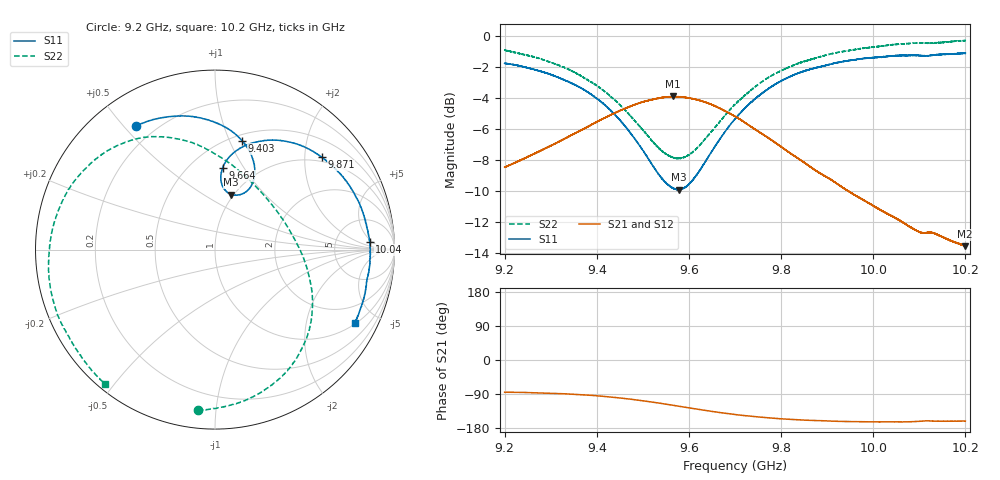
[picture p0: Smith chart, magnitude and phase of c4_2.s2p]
!Agilent Technologies,N5242A,MY51221714,A.09.90.19
!Agilent N5242A: A.09.90.19
!Date: Saturday, March 16, 2024 10:00:43
!Correction: S11(Full 2 Port(1,2))
!S21(Full 2 Port(1,2))
!S12(Full 2 Port(1,2))
!S22(Full 2 Port(1,2))
!S2P File: Measurements: S11, S21, S12, S22:
# Hz S  dB  R 50
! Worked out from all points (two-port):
!   16001 points, 9.2 GHz to 10.2 GHz, reference 50 ohm
!   highest |S21| = -3.90 dB at 9.566 GHz (marker M1); lowest = -13.5 dB at 10.2 GHz (marker M2)
!   |S21| within 3 dB of the highest: 9.312206 GHz to 9.312353 GHz (147 kHz wide, 0.00158 % of centre); 9.312 GHz to 9.788 GHz (476 MHz wide, 4.98 % of centre)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
!   lowest |S11| = -9.9 dB at 9.579 GHz (marker M3), VSWR 1.94, Z = 48.7 + j33.3 ohm
!   |S11| at or under -10 dB: nowhere
!   |S22| runs from -7.9 to -0.3 dB; largest |S21 - S12| = 0.0078
!   S11 on the Smith chart (normalised r, x): 9.2 GHz: 0.13, +0.54; 9.403 GHz: 0.56, +1.11; 9.664 GHz: 0.70, +0.81; 9.871 GHz: 0.89, +2.40; 10.04 GHz: 12, +4; 10.2 GHz: 1.03, -3.77
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9.2e9  -1.76 122.6  -8.46 -85.1  -8.45 -85.7  -0.91 -96.0
9.27775e9  -2.27 104.8  -7.40 -86.8  -7.38 -87.3  -1.47 -74.7
9.32375e9  -2.77 94.0  -6.72 -88.8  -6.69 -89.4  -1.96 -62.0
9.366688e9  -3.37 84.2  -6.06 -91.6  -6.03 -92.2  -2.59 -50.4
9.40275e9  -4.08 76.0  -5.48 -94.6  -5.48 -95.4  -3.25 -40.0
9.467375e9  -6.02 63.8  -4.60 -102.5  -4.59 -103.2  -4.96 -19.5
9.533375e9  -8.87 62.2  -4.02 -113.4  -4.00 -114.0  -7.18 11.0
9.565688e9  -9.79 69.6  -3.90 -119.5  -3.89 -120.2  -7.82 31.3
9.5785e9  -9.91 73.6  -3.93 -122.1  -3.92 -122.6  -7.88 39.9
9.62425e9  -8.62 84.4  -4.16 -130.9  -4.15 -131.5  -7.01 69.1
9.663625e9  -6.79 84.7  -4.61 -138.1  -4.61 -138.6  -5.65 87.9
9.7e9  -5.35 79.8  -5.17 -143.8  -5.16 -144.4  -4.40 101.0
9.779688e9  -3.25 62.5  -6.71 -153.3  -6.71 -154.0  -2.54 123.4
9.821e9  -2.60 52.7  -7.56 -156.7  -7.57 -157.3  -1.96 133.9
9.866688e9  -2.12 41.8  -8.50 -159.5  -8.48 -160.0  -1.49 145.1
9.870625e9  -2.09 40.9  -8.57 -159.7  -8.56 -160.3  -1.45 146.1
9.956438e9  -1.54 21.5  -10.19 -162.6  -10.18 -163.2  -0.90 167.5
1.003338e10  -1.32 4.9  -11.50 -163.3  -11.49 -163.9  -0.59 -173.0
1.004244e10  -1.29 2.9  -11.61 -163.3  -11.64 -163.9  -0.56 -170.7
1.010556e10  -1.26 -10.0  -12.67 -161.4  -12.67 -161.9  -0.45 -154.6
1.019962e10  -1.12 -27.8  -13.54 -161.2  -13.53 -161.9  -0.29 -129.6
1.02e10  -1.11 -27.9  -13.52 -161.2  -13.53 -161.8  -0.29 -129.5
